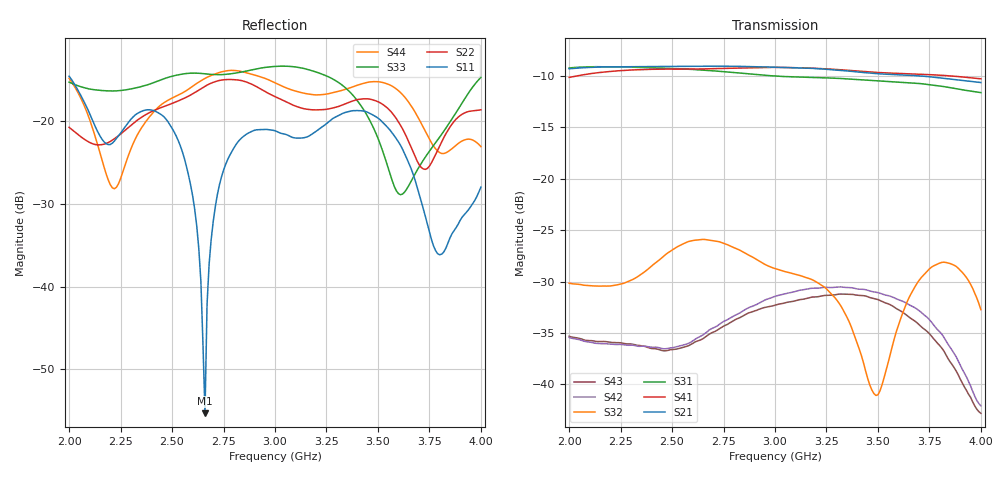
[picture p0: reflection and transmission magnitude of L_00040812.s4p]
!Agilent Technologies,N5224A,MY51441093,A.09.90.21
!Agilent N5224A: A.09.90.21
!Date: Friday, December 19, 2025 16:36:18
!Correction: S11(Full 4 Port(1,2,3,4))
!S12(Full 4 Port(1,2,3,4))
!S13(Full 4 Port(1,2,3,4))
!S14(Full 4 Port(1,2,3,4))
!S21(Full 4 Port(1,2,3,4))
!S22(Full 4 Port(1,2,3,4))
!S23(Full 4 Port(1,2,3,4))
!S24(Full 4 Port(1,2,3,4))
!S31(Full 4 Port(1,2,3,4))
!S32(Full 4 Port(1,2,3,4))
!S33(Full 4 Port(1,2,3,4))
!S34(Full 4 Port(1,2,3,4))
!S41(Full 4 Port(1,2,3,4))
!S42(Full 4 Port(1,2,3,4))
!S43(Full 4 Port(1,2,3,4))
!S44(Full 4 Port(1,2,3,4))
!S4P File: Measurements: <S11,S12,S13,S14>,
!<S21,S22,S23,S24>,
!<S31,S32,S33,S34>,
!<S41,S42,S43,S44>:
# Hz S  dB  R 50
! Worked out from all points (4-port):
!   201 points, 2 GHz to 4 GHz, reference 50 ohm
!   strongest paths, dB at 2 GHz, 2.5 GHz, 3 GHz, 3.5 GHz, 4 GHz:
!     S21: -9.3, -9.1, -9.2, -9.8, -10.7
!     S41: -10.2, -9.4, -9.2, -9.7, -10.3
!     S31: -9.3, -9.3, -10.0, -10.5, -11.7
!     S32: -30.2, -27.0, -28.7, -41.0, -32.7
!     S42: -35.4, -36.4, -31.4, -31.1, -42.1
!     S43: -35.3, -36.6, -32.3, -31.8, -42.8
!   lowest |S11| = -55.3 dB at 2.66 GHz (marker M1), VSWR 1.00, Z = 50.2 + j0.0511 ohm
!   |S11| at or under -10 dB: start of sweep to end of sweep
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2e9  -14.61 -52.3  -9.33 -76.3  -9.20 -170.0  -10.29 120.8
     -9.34 -76.3  -20.78 104.6  -30.11 -73.5  -35.55 -125.8
     -9.26 -169.9  -30.17 -73.3  -15.32 5.0  -35.48 139.7
     -10.17 121.0  -35.43 -125.4  -35.31 139.7  -14.86 158.8
2.53e9  -22.37 -110.1  -9.10 11.6  -9.26 -77.4  -9.49 -169.0
        -9.11 11.5  -17.59 -136.4  -26.52 -66.0  -36.43 60.4
        -9.34 -77.4  -26.58 -65.9  -14.44 -136.9  -36.72 -28.0
        -9.37 -168.9  -36.30 60.5  -36.52 -28.0  -16.89 -139.7
2.66e9  -55.30 17.2  -9.07 -53.7  -9.41 -142.5  -9.46 124.6
        -9.09 -53.8  -15.82 -163.7  -25.86 -150.5  -35.17 -47.6
        -9.48 -142.5  -25.92 -150.3  -14.32 -171.9  -35.60 -136.6
        -9.35 124.6  -35.04 -47.4  -35.41 -136.6  -14.87 -167.6
2.7e9  -32.12 13.5  -9.07 -73.8  -9.47 -162.6  -9.43 104.4
       -9.09 -73.9  -15.35 -173.0  -25.98 -175.1  -34.62 -82.0
       -9.53 -162.5  -26.03 -174.9  -14.40 179.1  -35.09 -170.8
       -9.32 104.4  -34.51 -81.7  -34.92 -170.8  -14.42 -177.1
2.85e9  -21.81 -27.8  -9.09 -149.0  -9.72 122.7  -9.34 28.9
        -9.12 -149.1  -15.22 150.2  -27.14 98.5  -32.92 149.9
        -9.79 122.8  -27.19 98.7  -14.04 149.1  -33.46 62.2
        -9.25 29.1  -32.79 150.1  -33.28 62.2  -14.12 146.2
3.61e9  -22.96 -164.1  -9.92 -165.0  -10.55 105.3  -9.83 17.1
        -9.93 -165.0  -20.54 54.0  -33.56 179.8  -31.88 -148.4
        -10.64 105.7  -33.63 -179.8  -28.92 -133.5  -32.99 123.2
        -9.79 17.5  -31.83 -148.1  -32.86 123.2  -16.59 30.8
4e9  -28.00 -3.3  -10.64 3.7  -11.56 -90.2  -10.34 -169.8
     -10.67 4.0  -18.66 77.8  -32.68 -52.4  -42.15 177.8
     -11.65 -89.6  -32.74 -51.9  -14.74 91.7  -42.90 80.5
     -10.31 -169.1  -42.08 178.3  -42.80 80.7  -23.10 28.7
